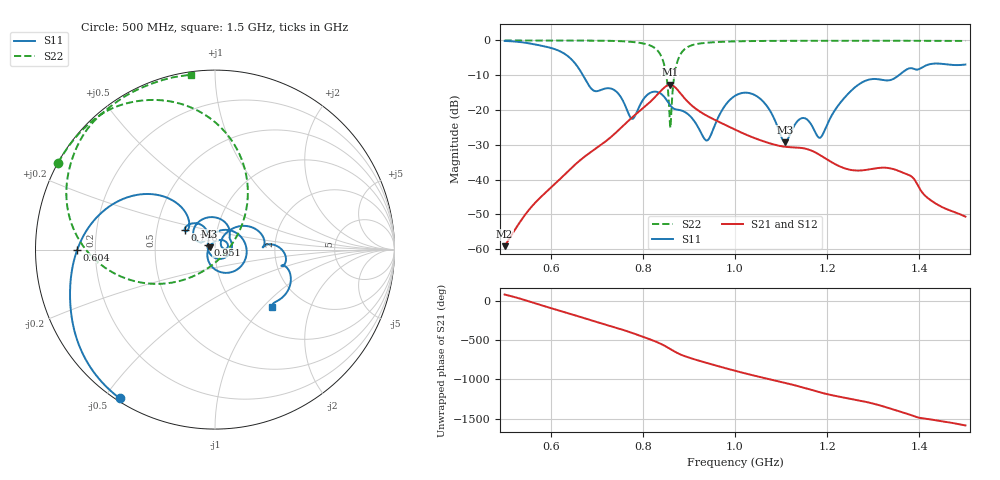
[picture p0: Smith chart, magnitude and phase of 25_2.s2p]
! TOUCHSTONE file generated by CST MICROWAVE STUDIO
! Date and time: Fri Oct  2 16:23:19 2020
! Project name: Scenario_1_Free_Space_out_of_line.cst
! Parameters = {Lambda=346.42; Step_1=17.321; dy1=-68.544; dx1=346; L_HA=400; MT=2.54; Rad_Dielectric=30; Rad_Lower=7.3; Rad_Upper=30; a_HA=580; a_WG=246; b_HA=500; b_WG=121; c_HA=0; c_WG=187; d_feed=85; h_feed=15; h_lower=18; h_upper=40}
! Header version: 2018
! Port assignment regex: !\s*Touchstone port\s*([0-9]+)\s*=\s*(CST MWS port|CST DS port)\s*([0-9]+|Zmin|Zmax)\s*\(\"(.*)\"\)(\s*mode\s*([0-9]+))?.*
! Touchstone port assignment:
! Touchstone port 1 = CST MWS port 1 ("")
! Touchstone port 2 = CST MWS port 2 ("")
# GHz S DB R 50
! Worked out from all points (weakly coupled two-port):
!   1003 points, 500 MHz to 1.5 GHz, reference 50 ohm
!   highest |S21| = -12.75 dB at 859 MHz (marker M1); lowest = -59.1 dB at 500 MHz (marker M2)
!   lowest |S11| = -29.2 dB at 1.108 GHz (marker M3), VSWR 1.07, Z = 47.1 + j1.6 ohm
!   |S11| at or under -10 dB: 670 MHz to 1.356 GHz (685.6 MHz wide, 67.7 % of centre)
!   |S22| runs from -25.1 to 0.0 dB; largest |S21 - S12| = 0.0015
!   S11 on the Smith chart (normalised r, x): 500 MHz: 0.01, -0.55; 604 MHz: 0.13, -0.00; 718 MHz: 0.69, +0.16; 951 MHz: 0.92, +0.05; 1.5 GHz: 1.41, -1.13
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0.5  -0.14 -122.7  -59.12 80.7  -59.09 80.6  -0.01 151.1
0.604  -2.30 -180.0  -41.87 -97.9  -41.86 -97.9  -0.02 143.7
0.639  -4.70 150.8  -37.42 -158.2  -37.42 -158.1  -0.03 140.8
0.667  -9.32 129.7  -34.09 150.6  -34.08 150.7  -0.04 138.2
0.718  -13.84 146.6  -29.14 59.9  -29.14 59.9  -0.10 132.3
0.777  -22.54 135.8  -22.09 -48.8  -22.09 -48.8  -0.43 121.0
0.834  -14.93 89.6  -15.21 -173.7  -15.21 -173.7  -3.24 88.0
0.848  -16.47 61.5  -13.39 145.8  -13.39 145.8  -7.91 63.2
0.859  -18.57 45.7  -12.75 108.4  -12.78 108.2  -24.44 -17.2
0.871  -19.80 35.6  -13.58 67.4  -13.63 67.6  -8.13 -150.9
0.884  -20.14 17.0  -15.59 31.3  -15.59 31.6  -3.50 -175.0
0.936  -28.62 -134.1  -21.43 -66.0  -21.43 -66.0  -0.70 152.1
0.951  -26.10 146.6  -22.49 -91.0  -22.49 -91.1  -0.54 148.4
1  -15.92 27.7  -25.63 -170.2  -25.62 -170.2  -0.27 140.2
1.057  -17.02 -66.9  -28.77 106.1  -28.77 106.1  -0.15 133.6
1.108  -29.24 150.6  -30.54 36.2  -30.55 36.2  -0.12 128.8
1.142  -22.50 35.0  -30.87 -14.6  -30.87 -14.6  -0.11 126.0
1.167  -24.53 3.5  -31.72 -57.1  -31.72 -57.1  -0.10 124.1
1.185  -27.94 29.8  -32.98 -86.3  -32.99 -86.3  -0.09 122.7
1.26  -13.51 38.8  -37.36 -177.7  -37.36 -177.7  -0.08 116.9
1.334  -11.47 3.4  -36.68 74.1  -36.68 74.1  -0.09 111.3
1.5  -6.93 -45.0  -50.64 -146.9  -50.64 -147.5  -0.15 97.8
